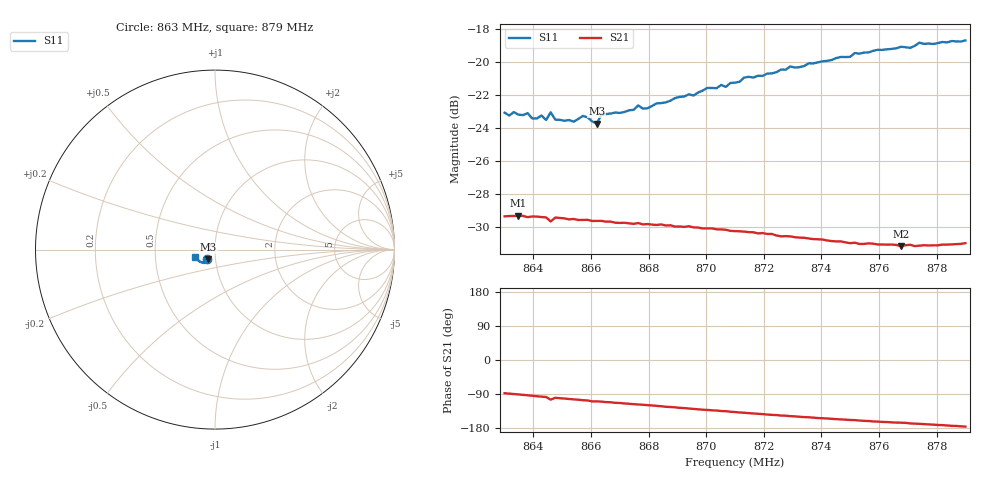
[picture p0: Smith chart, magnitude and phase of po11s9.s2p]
# HZ S RI R 50
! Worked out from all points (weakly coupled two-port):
!   101 points, 863 MHz to 879 MHz, reference 50 ohm
!   highest |S21| = -29.29 dB at 863.48 MHz (marker M1); lowest = -31.1 dB at 876.76 MHz (marker M2)
!   lowest |S11| = -23.7 dB at 866.2 MHz (marker M3), VSWR 1.14, Z = 46.2 - j4.99 ohm
!   |S11| at or under -10 dB: start of sweep to end of sweep
!   S12 and S22 are empty: the file has one direction only
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8.63e8  -0.0445 -0.0546  0.00142 -0.0341  0 0  0 0
8.6348e8  -0.0427 -0.0548  -0.00051 -0.0343  0 0  0 0
8.638e8  -0.0428 -0.0557  -0.00189 -0.0339  0 0  0 0
8.6396e8  -0.0402 -0.0544  -0.00254 -0.0341  0 0  0 0
8.6428e8  -0.0394 -0.0567  -0.00398 -0.0338  0 0  0 0
8.6444e8  -0.0395 -0.0541  -0.00454 -0.0336  0 0  0 0
8.646e8  -0.0428 -0.0562  -0.0083 -0.0319  0 0  0 0
8.6476e8  -0.0374 -0.0557  -0.00572 -0.0334  0 0  0 0
8.654e8  -0.0359 -0.0556  -0.00809 -0.0326  0 0  0 0
8.6572e8  -0.0363 -0.0585  -0.00924 -0.032  0 0  0 0
8.662e8  -0.037 -0.0538  -0.0108 -0.0313  0 0  0 0
8.6636e8  -0.0362 -0.0593  -0.0112 -0.0311  0 0  0 0
8.6796e8  -0.0359 -0.0632  -0.0158 -0.0283  0 0  0 0
8.6844e8  -0.0378 -0.0652  -0.0172 -0.0274  0 0  0 0
8.71e8  -0.0486 -0.072  -0.0227 -0.0209  0 0  0 0
8.7132e8  -0.0504 -0.0746  -0.0233 -0.0201  0 0  0 0
8.7372e8  -0.0673 -0.0731  -0.0258 -0.0136  0 0  0 0
8.75e8  -0.0782 -0.0686  -0.0263 -0.0105  0 0  0 0
8.7516e8  -0.0818 -0.0687  -0.0265 -0.0103  0 0  0 0
8.7644e8  -0.0913 -0.0612  -0.0271 -0.00746  0 0  0 0
8.7676e8  -0.0944 -0.0594  -0.0269 -0.00698  0 0  0 0
8.79e8  -0.11 -0.0388  -0.0283 -0.00211  0 0  0 0
